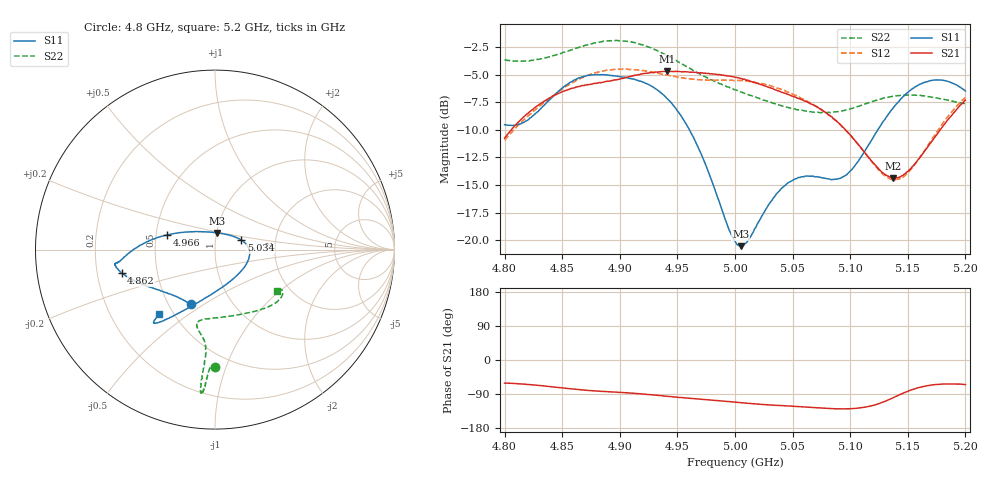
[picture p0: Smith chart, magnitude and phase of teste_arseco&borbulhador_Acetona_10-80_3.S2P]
! Network Analyzer HP8722D
! Hewlett-Packard
! Data name: Linha & Wilkinson
! Saver's name: Rodrigo Anjos
! Comments: Teste da utilização de aquisição
! continua pelo VNA HP8722D
! Time and date: 17/4/2025 14:23
!  Frequency  S11  S21  S12  S22
# HZ  S  MA R 50
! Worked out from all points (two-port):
!   401 points, 4.8 GHz to 5.2 GHz, reference 50 ohm
!   highest |S21| = -4.70 dB at 4.941 GHz (marker M1); lowest = -14.4 dB at 5.137 GHz (marker M2)
!   |S21| within 3 dB of the highest: 4.83 GHz to 5.067 GHz (236.8 MHz wide, 4.79 % of centre); 5.196339 GHz to end of sweep
!   lowest |S11| = -20.5 dB at 5.005 GHz (marker M3), VSWR 1.21, Z = 50.3 + j9.45 ohm
!   |S11| at or under -10 dB: 4.96 GHz to 5.124 GHz (163.5 MHz wide, 3.24 % of centre)
!   |S22| runs from -8.5 to -1.9 dB; largest |S21 - S12| = 0.87
!   S11 on the Smith chart (normalised r, x): 4.8 GHz: 0.64, -0.44; 4.862 GHz: 0.31, -0.11; 4.966 GHz: 0.57, +0.10; 5.034 GHz: 1.34, +0.14; 5.2 GHz: 0.42, -0.39
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4.8e9  0.3337 -113.7  0.2903 -61.0  0.2839 -175.1  0.6567 -90.2
4.819e9  0.3476 -133.5  0.371 -64.4  0.3601 -173.8  0.6496 -91.7
4.862e9  0.5363 -165.9  0.4941 -77.2  0.528 -177.0  0.7416 -94.0
4.867e9  0.5492 -167.9  0.5016 -78.8  0.5435 -178.1  0.7557 -94.1
4.9e9  0.5509 -172.4  0.5383 -85.3  0.5956 175.4  0.8004 -95.4
4.934e9  0.4738 -178.3  0.5796 -93.8  0.5695 171.6  0.7151 -95.8
4.941e9  0.4387 178.7  0.5824 -95.7  0.5595 171.6  0.6871 -95.7
4.966e9  0.2778 162.7  0.5766 -102.2  0.5347 173.6  0.5793 -95.1
5e9  0.09905 101.0  0.5476 -111.1  0.5298 176.0  0.48 -99.2
5.005e9  0.09387 83.1  0.5405 -112.7  0.5281 175.9  0.4692 -100.3
5.012e9  0.1007 59.6  0.5296 -114.4  0.5243 175.7  0.455 -101.9
5.034e9  0.1565 19.6  0.4822 -119.3  0.4943 174.8  0.4164 -103.4
5.05e9  0.1866 3.4  0.4493 -122.1  0.4584 173.9  0.3959 -99.6
5.067e9  0.1948 -14.8  0.4123 -125.1  0.4133 173.6  0.3804 -90.8
5.085e9  0.1885 -42.9  0.3568 -128.5  0.356 173.4  0.3804 -77.1
5.097e9  0.1978 -67.2  0.3117 -128.9  0.3119 174.5  0.3899 -67.3
5.134e9  0.3775 -116.9  0.1936 -104.1  0.1902 -157.0  0.4457 -43.0
5.137e9  0.3951 -118.6  0.1912 -100.1  0.1883 -152.2  0.4489 -41.7
5.151e9  0.4716 -124.9  0.207 -81.2  0.2047 -130.7  0.4549 -36.5
5.17e9  0.5287 -129.1  0.2766 -66.3  0.2817 -112.7  0.4458 -32.1
5.184e9  0.5255 -130.4  0.3478 -63.3  0.3586 -107.5  0.4321 -31.2
5.2e9  0.4739 -130.8  0.4311 -64.7  0.4431 -106.8  0.415 -33.5
